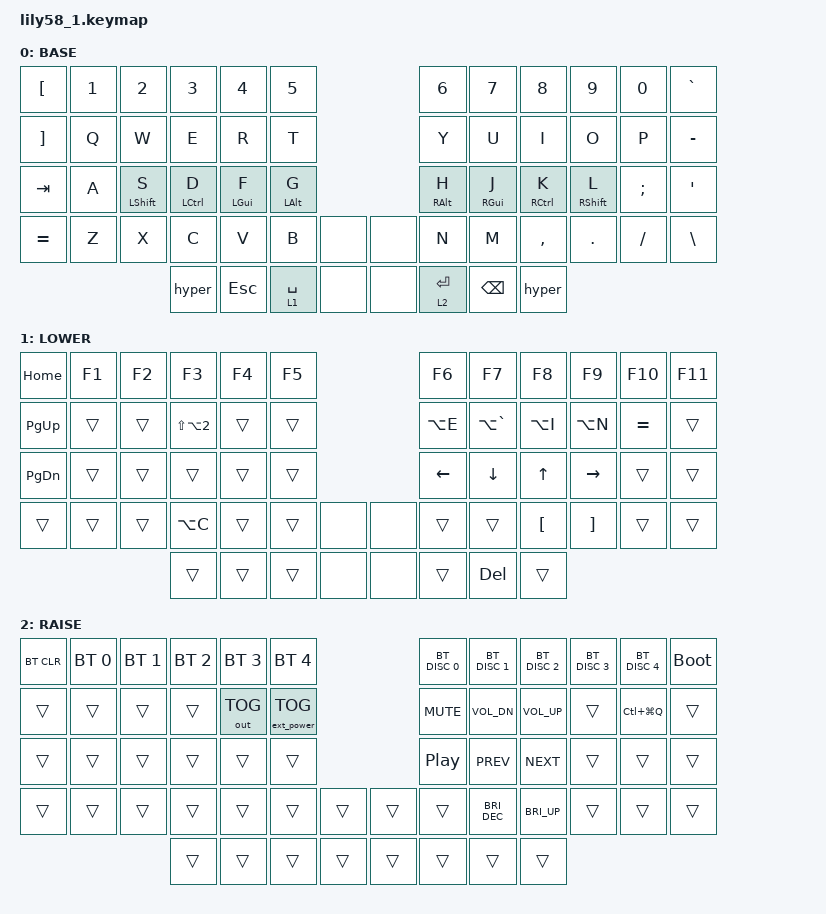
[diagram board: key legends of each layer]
/*
 * Copyright (c) 2020 The ZMK Contributors
 *
 * SPDX-License-Identifier: MIT
 */

#include <behaviors.dtsi>
#include <dt-bindings/zmk/bt.h>
#include <dt-bindings/zmk/ext_power.h>
#include <dt-bindings/zmk/keys.h>
#include <dt-bindings/zmk/outputs.h>

/ {
    macros {
        hyper: hyper {
            compatible = "zmk,behavior-macro";
            #binding-cells = <0>;
            bindings =
                <&macro_press>,
                <&kp LGUI &kp LSHFT &kp LCTRL &kp LALT>,
                <&macro_pause_for_release>,
                <&macro_release>,
                <&kp LGUI &kp LSHFT &kp LCTRL &kp LALT>;

            label = "HYPER";
        };
    };

    behaviors {
        hm: homerow_mod {
            compatible = "zmk,behavior-hold-tap";
            #binding-cells = <2>;
            tapping-term-ms = <175>;
            flavor = "tap-preferred";
            bindings = <&kp>, <&kp>;
        };
    };

    keymap {
        compatible = "zmk,keymap";

        default_layer {
            // -----------------------------------------------------------------------------------------------------------------
            // |       |  1  |  2   |   3   |   4   |   5   |                   |  6   |   7   |   8   |   9   |   0   |   `   |
            // |       |  Q  |  W   |   E   |   R   |   T   |                   |  Y   |   U   |   I   |   O   |   P   |   -   |
            // |  TAB  |  A  |S/LSH |D/LCTL | F/GUI |G/LALT |                   |H/RALT| J/GUI |K/RCTL |L/RSHFT|   ;   |   '   |
            // |       |  Z  |  X   |   C   |   V   |   B   |        |  |       |  N   |   M   |   ,   |   .   |   /   |   \   |
            //                      | HYPER | ESC   |LWR/SPC|        |  |       |RSE/ENT| BSPC | HYPER |

            bindings = <
&kp LEFT_BRACKET   &kp N1  &kp N2            &kp N3              &kp N4          &kp N5                          &kp N6           &kp N7           &kp N8       &kp N9             &kp N0    &kp GRAVE
&kp RIGHT_BRACKET  &kp Q   &kp W             &kp E               &kp R           &kp T                           &kp Y            &kp U            &kp I        &kp O              &kp P     &kp MINUS
&kp TAB            &kp A   &hm LEFT_SHIFT S  &hm LEFT_CONTROL D  &hm LEFT_GUI F  &hm LEFT_ALT G                  &hm RIGHT_ALT H  &hm RIGHT_GUI J  &hm RCTRL K  &hm RIGHT_SHIFT L  &kp SEMI  &kp SQT
&kp EQUAL          &kp Z   &kp X             &kp C               &kp V           &kp B           &none    &none  &kp N            &kp M            &kp COMMA    &kp DOT            &kp FSLH  &kp BACKSLASH
                                             &hyper              &kp ESC         &lt 1 SPACE     &none    &none  &lt 2 ENTER      &kp BSPC         &hyper
            >;

            label = "BASE";
        };

        lower_layer {
            // -----------------------------------------------------------------------------------------------------------------
            // |  HOME |  F1 |  F2  |  F3   |  F4   |  F5   |                   |  F6  |  F7   |  F8   |  F9  |  F10  |  F11  |
            // | PG_UP |     |      |   €   |       |       |                   |  ´   |   `   |  ^    |   ñ  |   =   |       |
            // | PG_DN |     |      |       |       |       |                   |  <-  |   ^   |   v   |  ->  |       |       |
            // |       |     |      |   ç   |       |       |                   |      |       |   [   |  ]   |       |       |
            //                      |       |       |       |                   |      |  DEL  |       |

            bindings = <
&kp HOME   &kp F1  &kp F2  &kp F3                &kp F4  &kp F5                     &kp F6          &kp F7          &kp F8        &kp F9     &kp F10    &kp F11
&kp PG_UP  &trans  &trans  &kp LS(LA(NUMBER_2))  &trans  &trans                     &kp LA(E)       &kp LA(GRAVE)   &kp LA(I)     &kp LA(N)  &kp EQUAL  &trans
&kp PG_DN  &trans  &trans  &trans                &trans  &trans                     &kp LEFT_ARROW  &kp DOWN_ARROW  &kp UP_ARROW  &kp RIGHT  &trans     &trans
&trans     &trans  &trans  &kp LA(C)             &trans  &trans  &none    &none     &trans          &trans          &kp LBKT      &kp RBKT   &trans     &trans
                           &trans                &trans  &trans  &none    &none     &trans          &kp DEL         &trans
            >;

            label = "LOWER";
        };

        raise_layer {
            // -----------------------------------------------------------------------------------------------------------------
            // |BT_CLR | BT0 | BT1  | BT2   | BT3   | BT4   |                   |BT_DC0|BT_DC1 |BT_DC2 |BT_DC3|BT_DC4 | BOOT  |
            // |       |     |      |       |OUT_TOG| EP_TOG|                   | MUTE | VOL-  | VOL+  |      | LOCK  |       |
            // |       |     |      |       |       |       |                   | PLAY | PREV  | NEXT  |      |       |       |
            // |       |     |      |       |       |       |        |  |       |      | BRI-  | BRI+  |      |       |       |
            //                      |       |       |       |        |  |       |      |       |       |

            bindings = <
&bt BT_CLR  &bt BT_SEL 0  &bt BT_SEL 1  &bt BT_SEL 2  &bt BT_SEL 3  &bt BT_SEL 4                         &bt BT_DISC 0     &bt BT_DISC 1  &bt BT_DISC 2  &bt BT_DISC 3  &bt BT_DISC 4  &bootloader
&trans      &trans        &trans        &trans        &out OUT_TOG  &ext_power EP_TOG                    &kp C_MUTE        &kp C_VOL_DN   &kp C_VOL_UP   &trans         &kp LC(LG(Q))  &trans
&trans      &trans        &trans        &trans        &trans        &trans                               &kp C_PLAY_PAUSE  &kp C_PREV     &kp C_NEXT     &trans         &trans         &trans
&trans      &trans        &trans        &trans        &trans        &trans             &trans    &trans  &trans            &kp C_BRI_DEC  &kp C_BRI_UP   &trans         &trans         &trans
                                        &trans        &trans        &trans             &trans    &trans  &trans            &trans         &trans
            >;

            label = "RAISE";
        };
    };
};
